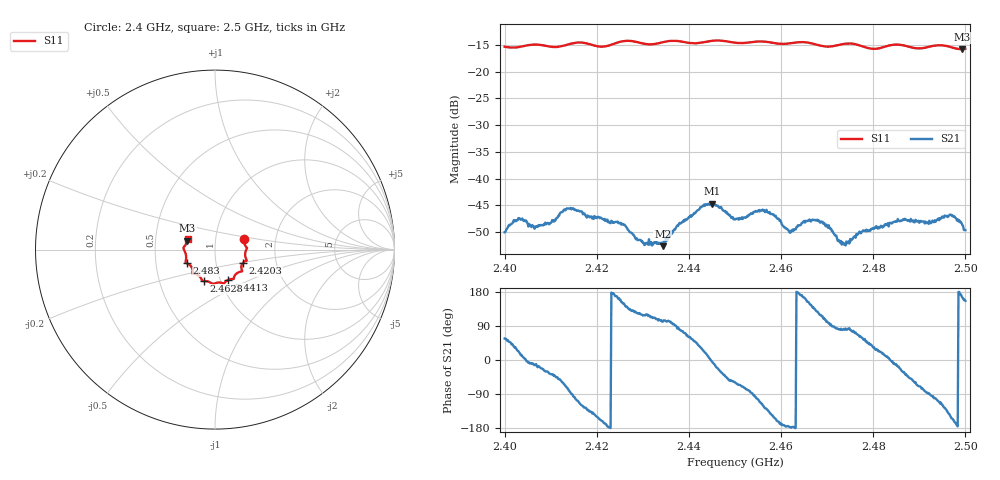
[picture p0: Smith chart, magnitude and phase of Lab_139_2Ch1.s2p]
# Hz S RI R 50
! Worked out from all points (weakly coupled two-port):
!   601 points, 2.4 GHz to 2.5 GHz, reference 50 ohm
!   highest |S21| = -44.66 dB at 2.445 GHz (marker M1); lowest = -52.6 dB at 2.4343 GHz (marker M2)
!   lowest |S11| = -15.8 dB at 2.4993 GHz (marker M3), VSWR 1.39, Z = 36.5 + j3.7 ohm
!   |S11| at or under -10 dB: start of sweep to end of sweep
!   S12 and S22 are empty: the file has one direction only
!   S11 on the Smith chart (normalised r, x): 2.4 GHz: 1.37, +0.16; 2.4203 GHz: 1.35, -0.21; 2.4413 GHz: 1.09, -0.38; 2.4628 GHz: 0.83, -0.30; 2.483 GHz: 0.72, -0.11; 2.5 GHz: 0.73, +0.09
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2.4e9  0.1607 0.0571  0.00174 0.00263  0 0  0 0
2.403333e9  0.1686 0.0227  0.00403 0.00128  0 0  0 0
2.406667e9  0.1784 0.00843  0.00343 -0.000803  0 0  0 0
2.413333e9  0.1708 -0.0458  0.00175 -0.00485  0 0  0 0
2.416667e9  0.1761 -0.0616  -0.00241 -0.00432  0 0  0 0
2.420333e9  0.155 -0.0739  -0.00391 -0.00203  0 0  0 0
2.425667e9  0.1514 -0.118  -0.00322 0.00192  0 0  0 0
2.430167e9  0.1309 -0.1268  -0.00118 0.00221  0 0  0 0
2.433333e9  0.1078 -0.1485  -0.000597 0.00238  0 0  0 0
2.434333e9  0.1057 -0.1555  -0.00045 0.00229  0 0  0 0
2.441333e9  0.0744 -0.1679  0.00312 0.00356  0 0  0 0
2.445e9  0.0525 -0.1865  0.00584 -0.000404  0 0  0 0
2.45e9  0.0292 -0.1837  0.00213 -0.00356  0 0  0 0
2.456333e9  -0.0134 -0.1902  -0.00289 -0.00416  0 0  0 0
2.462833e9  -0.0631 -0.1749  -0.00336 -0.000199  0 0  0 0
2.466667e9  -0.0743 -0.1676  -0.00325 0.00252  0 0  0 0
2.473667e9  -0.1218 -0.1343  0.00033 0.0024  0 0  0 0
2.483e9  -0.1551 -0.0767  0.00367 0.000607  0 0  0 0
2.483333e9  -0.1571 -0.0759  0.00356 0.000365  0 0  0 0
2.496833e9  -0.1677 0.0218  -0.00394 -0.00231  0 0  0 0
2.499333e9  -0.1542 0.0494  -0.00356 0.000975  0 0  0 0
2.5e9  -0.1526 0.0584  -0.00302 0.00133  0 0  0 0
